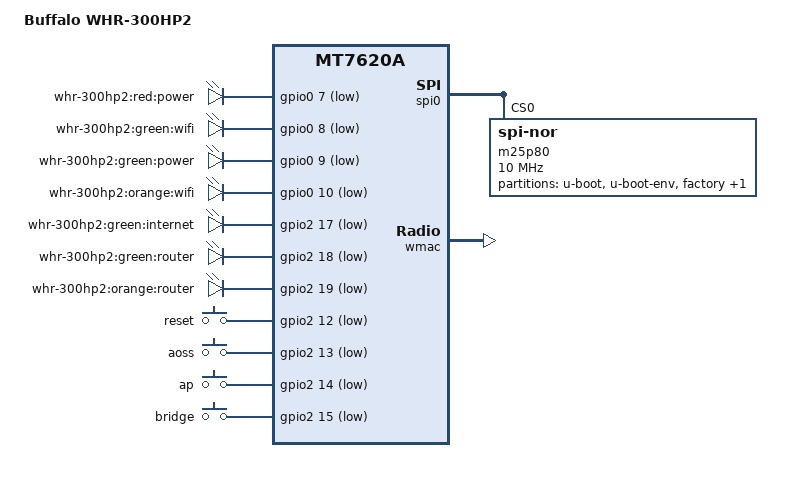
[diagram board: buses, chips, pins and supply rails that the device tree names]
/dts-v1/;

#include "mt7620a.dtsi"

#include <dt-bindings/gpio/gpio.h>
#include <dt-bindings/input/input.h>

/ {
	compatible = "buffalo,whr-300hp2", "ralink,mt7620a-soc";
	model = "Buffalo WHR-300HP2";

	aliases {
		led-boot = &led_power_green;
		led-failsafe = &led_power_green;
		led-running = &led_power_green;
		led-upgrade = &led_power_green;
	};

	leds {
		compatible = "gpio-leds";

		power {
			label = "whr-300hp2:red:power";
			gpios = <&gpio0 7 GPIO_ACTIVE_LOW>;
		};

		wifi {
			label = "whr-300hp2:green:wifi";
			gpios = <&gpio0 8 GPIO_ACTIVE_LOW>;
		};

		led_power_green: power2 {
			label = "whr-300hp2:green:power";
			gpios = <&gpio0 9 GPIO_ACTIVE_LOW>;
		};

		wifi2 {
			label = "whr-300hp2:orange:wifi";
			gpios = <&gpio0 10 GPIO_ACTIVE_LOW>;
		};

		internet {
			label = "whr-300hp2:green:internet";
			gpios = <&gpio2 17 GPIO_ACTIVE_LOW>;
		};

		router {
			label = "whr-300hp2:green:router";
			gpios = <&gpio2 18 GPIO_ACTIVE_LOW>;
		};

		router2 {
			label = "whr-300hp2:orange:router";
			gpios = <&gpio2 19 GPIO_ACTIVE_LOW>;
		};
	};

	keys {
		compatible = "gpio-keys";

		reset {
			label = "reset";
			gpios = <&gpio2 12 GPIO_ACTIVE_LOW>;
			linux,code = <KEY_RESTART>;
		};

		aoss {
			label = "aoss";
			gpios = <&gpio2 13 GPIO_ACTIVE_LOW>;
			linux,code = <KEY_WPS_BUTTON>;
		};

		ap {
			label = "ap";
			gpios = <&gpio2 14 GPIO_ACTIVE_LOW>;
			linux,code = <BTN_0>;
			linux,input-type = <EV_SW>;
		};

		bridge {
			label = "bridge";
			gpios = <&gpio2 15 GPIO_ACTIVE_LOW>;
			linux,code = <BTN_0>;
			linux,input-type = <EV_SW>;
		};
	};
};

&gpio2 {
	status = "okay";
};

&spi0 {
	status = "okay";

	m25p80@0 {
		compatible = "jedec,spi-nor";
		reg = <0>;
		spi-max-frequency = <10000000>;

		partitions {
			compatible = "fixed-partitions";
			#address-cells = <1>;
			#size-cells = <1>;

			partition@0 {
				label = "u-boot";
				reg = <0x0 0x30000>;
				read-only;
			};

			partition@30000 {
				label = "u-boot-env";
				reg = <0x30000 0x10000>;
				read-only;
			};

			factory: partition@40000 {
				label = "factory";
				reg = <0x40000 0x10000>;
				read-only;
			};

			partition@50000 {
				compatible = "denx,uimage";
				label = "firmware";
				reg = <0x50000 0x7b0000>;
			};
		};
	};
};

&state_default {
	gpio {
		ralink,group = "i2c", "uartf", "rgmii1", "rgmii2", "wled", "nd_sd";
		ralink,function = "gpio";
	};
};

&ethernet {
	pinctrl-names = "default";
	pinctrl-0 = <&ephy_pins>;
	mtd-mac-address = <&factory 0x4>;
	mediatek,portmap = "llllw";
};

&gsw {
	mediatek,port4 = "ephy";
};

&wmac {
	ralink,mtd-eeprom = <&factory 0>;
	pinctrl-names = "default";
	pinctrl-0 = <&pa_pins>;
};
